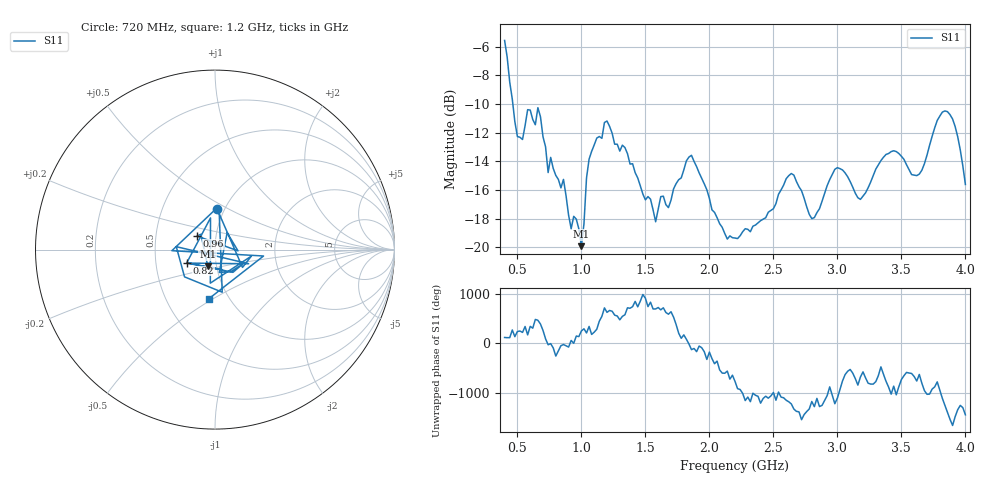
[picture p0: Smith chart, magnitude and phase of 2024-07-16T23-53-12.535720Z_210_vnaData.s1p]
!Created with skrf (http://scikit-rf.org).
# Hz S RI R 50.0
!freq ReS11 ImS11
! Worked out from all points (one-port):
!   181 points, 400 MHz to 4 GHz, reference 50 ohm
!   lowest |S11| = -19.9 dB at 1 GHz (marker M1), VSWR 1.22, Z = 45.4 - j8.5 ohm
!   |S11| at or under -10 dB: 464.4 MHz to end of sweep
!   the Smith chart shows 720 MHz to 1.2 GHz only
!   S11 on the Smith chart (normalised r, x): 720 MHz: 0.93, +0.44; 820 MHz: 0.72, -0.11; 960 MHz: 0.81, +0.12; 1.2 GHz: 0.81, -0.48
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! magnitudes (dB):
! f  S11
! 400 MHz  -5.6
! 500 MHz  -12.3
! 660 MHz  -10.3
! 720 MHz  -13.0
! 740 MHz  -14.8
! 820 MHz  -15.3
! 860 MHz  -15.3
! 920 MHz  -18.7
! 960 MHz  -18.0
! 1 GHz  -19.9
! 1.06 GHz  -13.8
! 1.2 GHz  -11.2
! 1.3 GHz  -13.3
! 1.58 GHz  -18.2
! 1.76 GHz  -15.3
! 1.86 GHz  -13.6
! 2.2 GHz  -19.3
! 2.66 GHz  -15.0
! 2.8 GHz  -18.0
! 2.98 GHz  -14.5
! 3.1 GHz  -15.4
! 3.18 GHz  -16.6
! 3.44 GHz  -13.3
! 3.56 GHz  -14.6
! 3.66 GHz  -14.6
! 3.84 GHz  -10.5
! 3.92 GHz  -11.6
! 4 GHz  -15.6
